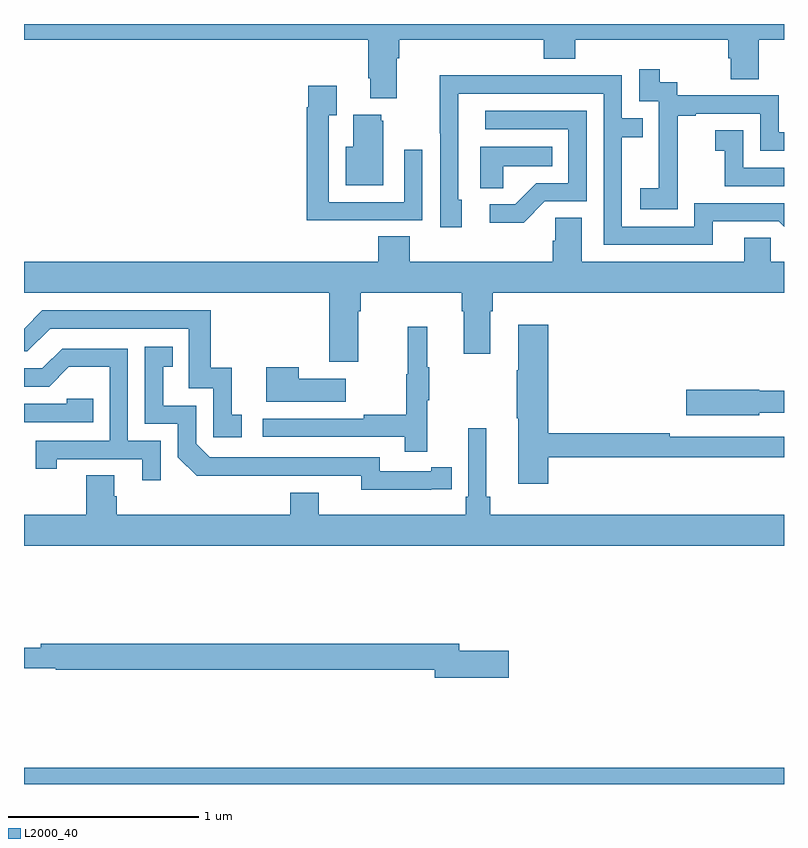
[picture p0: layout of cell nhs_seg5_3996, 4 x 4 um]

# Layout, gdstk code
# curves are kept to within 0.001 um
import gdstk
lib = gdstk.Library(unit=1e-6, precision=1e-09)
def R(c, l, rs):  # rectangles x0, y0, x1, y1
    for r in rs: c.add(gdstk.rectangle(r[:2], r[2:], *l))
def P(c, l, *ps):  # polygons
    for p in ps: c.add(gdstk.Polygon(p, *l))
L2000_40 = (2000, 40)

nhs_seg5_3996 = lib.new_cell('nhs_seg5_3996')
R(nhs_seg5_3996, L2000_40, [(345,896.799,349,896.884)])
P(nhs_seg5_3996, L2000_40, [(346.963,900.62),(346.976,900.62),(346.976,900.716),(347.735,900.716),(347.735,900.617),(347.9,900.617),(347.9,900.716),(348.707,900.716),(348.707,900.618),(348.719,900.618),(348.719,900.508),(348.867,900.508),(348.867,900.716),(349,900.716),(349,900.799),(345,900.799),(345,900.716),(346.811,900.716),(346.811,900.514),(346.823,900.514),(346.823,900.407),(346.963,900.407)],
  [(348.441,900.031),(348.44,900.031),(348.44,900.315),(348.535,900.315),(348.535,900.327),(348.876,900.327),(348.876,900.132),(349,900.132),(349,900.228),(348.972,900.228),(348.972,900.423),(348.438,900.423),(348.438,900.492),(348.346,900.492),(348.346,900.562),(348.237,900.562),(348.237,900.393),(348.342,900.393),(348.342,900.164),(348.341,900.164),(348.341,899.935),(348.243,899.935),(348.243,899.825),(348.441,899.825)],
  [(348.625,899.76),(348.972,899.76),(349,899.732),(349,899.856),(348.528,899.856),(348.528,899.733),(348.147,899.733),(348.147,900.202),(348.257,900.202),(348.257,900.303),(348.147,900.303),(348.147,900.528),(347.651,900.528),(347.651,900.53),(347.188,900.53),(347.188,900.223),(347.19,900.223),(347.19,899.73),(347.305,899.73),(347.305,899.874),(347.286,899.874),(347.286,900.432),(348.051,900.432),(348.051,899.637),(348.625,899.637)],
  [(346.781,899.766),(347.097,899.766),(347.097,900.136),(347.001,900.136),(347.001,899.862),(346.605,899.862),(346.605,900.319),(346.645,900.319),(346.645,900.475),(346.497,900.475),(346.497,900.362),(346.489,900.362),(346.489,899.765),(346.781,899.765)],
  [(347.742,899.865),(347.961,899.865),(347.961,900.342),(347.427,900.342),(347.427,900.246),(347.865,900.246),(347.865,899.961),(347.696,899.961),(347.585,899.85),(347.451,899.85),(347.451,899.753),(347.629,899.753)],
  [(346.891,900.291),(346.88,900.291),(346.88,900.322),(346.733,900.322),(346.733,900.154),(346.694,900.154),(346.694,899.951),(346.891,899.951)],
  [(349,900.042),(348.786,900.042),(348.786,900.241),(348.639,900.241),(348.639,900.131),(348.688,900.131),(348.688,899.946),(349,899.946)],
  [(347.523,900.05),(347.78,900.05),(347.78,900.154),(347.402,900.154),(347.402,899.935),(347.523,899.935)],
  [(346.759,899.288),(346.772,899.288),(346.772,899.384),(347.303,899.384),(347.303,899.288),(347.315,899.288),(347.315,899.064),(347.455,899.064),(347.455,899.288),(347.468,899.288),(347.468,899.384),(349,899.384),(349,899.548),(348.93,899.548),(348.93,899.675),(348.791,899.675),(348.791,899.548),(347.935,899.548),(347.935,899.78),(347.796,899.78),(347.796,899.657),(347.783,899.657),(347.783,899.548),(347.03,899.548),(347.03,899.681),(346.865,899.681),(346.865,899.548),(345,899.548),(345,899.384),(346.607,899.384),(346.607,899.022),(346.759,899.022)],
  [(346.147,898.743),(346.094,898.743),(346.094,898.99),(345.983,898.99),(345.983,899.292),(345.096,899.292),(345,899.196),(345,899.076),(345.018,899.076),(345.138,899.196),(345.867,899.196),(345.867,898.881),(345.996,898.881),(345.996,898.623),(346.147,898.623)],
  [(347.759,898.518),(349,898.518),(349,898.626),(348.398,898.626),(348.398,898.646),(347.759,898.646),(347.759,899.215),(347.6,899.215),(347.6,898.976),(347.593,898.976),(347.593,898.723),(347.6,898.723),(347.6,898.38),(347.759,898.38)],
  [(347.123,898.819),(347.134,898.819),(347.134,898.993),(347.123,898.993),(347.123,899.206),(347.02,899.206),(347.02,898.956),(347.013,898.956),(347.013,898.742),(346.789,898.742),(346.789,898.722),(346.257,898.722),(346.257,898.626),(347.005,898.626),(347.005,898.548),(347.123,898.548)],
  [(347.144,898.35),(347.252,898.35),(347.252,898.466),(347.144,898.466),(347.144,898.446),(346.872,898.446),(346.872,898.518),(345.978,898.518),(345.906,898.59),(345.906,898.791),(345.733,898.791),(345.733,898.995),(345.782,898.995),(345.782,899.101),(345.636,899.101),(345.636,898.695),(345.81,898.695),(345.81,898.518),(345.908,898.421),(346.776,898.422),(346.776,898.349)],
  [(345.72,898.605),(345.546,898.605),(345.546,899.091),(345.2,899.091),(345.095,898.986),(345,898.986),(345,898.89),(345.132,898.89),(345.236,898.994),(345.45,898.994),(345.45,898.605),(345.061,898.605),(345.061,898.458),(345.172,898.458),(345.172,898.509),(345.623,898.509),(345.623,898.398),(345.72,898.398)],
  [(346.693,898.933),(346.445,898.933),(346.445,898.993),(346.274,898.993),(346.274,898.811),(346.693,898.811)],
  [(348.87,898.752),(349,898.752),(349,898.868),(348.87,898.868),(348.87,898.874),(348.486,898.874),(348.486,898.739),(348.87,898.739)],
  [(345.365,898.827),(345.225,898.827),(345.225,898.8),(345,898.8),(345,898.704),(345.365,898.704)],
  [(349,898.216),(347.453,898.216),(347.453,898.312),(347.434,898.312),(347.434,898.672),(347.337,898.672),(347.337,898.312),(347.324,898.312),(347.324,898.216),(346.552,898.216),(346.552,898.333),(346.4,898.333),(346.4,898.216),(345.488,898.216),(345.488,898.314),(345.475,898.314),(345.475,898.424),(345.328,898.424),(345.328,898.216),(345,898.216),(345,898.052),(349,898.052)],
  [(347.551,897.5),(347.29,897.5),(347.29,897.536),(345.088,897.536),(345.088,897.517),(345,897.517),(345,897.408),(345.166,897.408),(345.166,897.4),(347.162,897.4),(347.162,897.358),(347.551,897.358)])

lib.write_gds('nhs_seg5_3996.gds')
